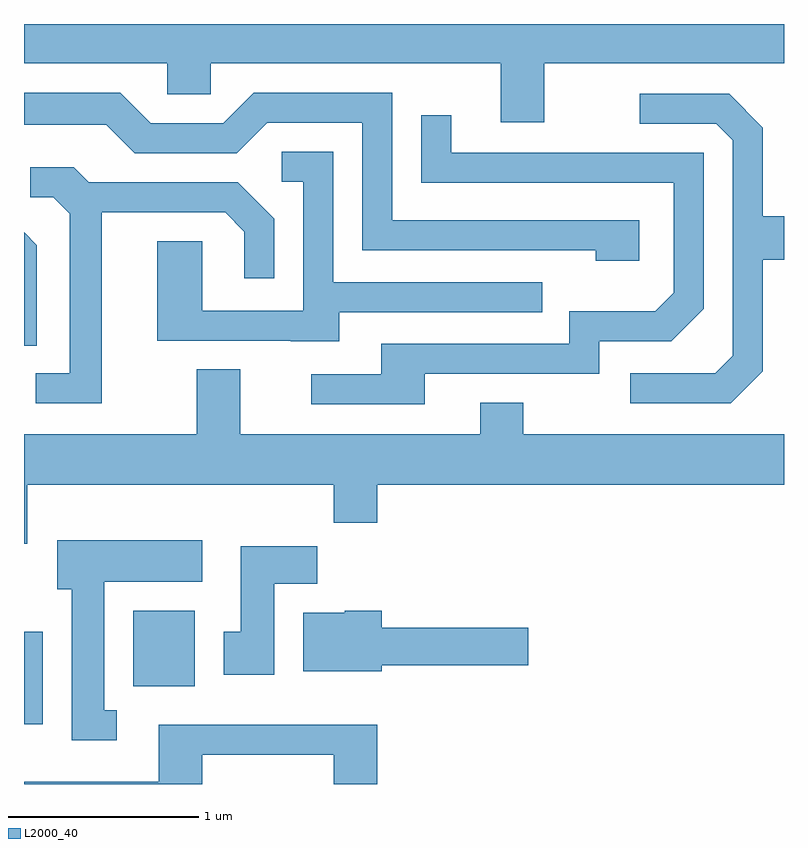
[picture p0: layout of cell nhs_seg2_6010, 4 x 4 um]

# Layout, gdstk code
import gdstk
lib = gdstk.Library(unit=1e-6, precision=1e-09)
def R(c, l, rs):  # rectangles x0, y0, x1, y1
    for r in rs: c.add(gdstk.rectangle(r[:2], r[2:], *l))
def P(c, l, *ps):  # polygons
    for p in ps: c.add(gdstk.Polygon(p, *l))
L2000_40 = (2000, 40)

nhs_seg2_6010 = lib.new_cell('nhs_seg2_6010')
R(nhs_seg2_6010, L2000_40, [(361.611,1098.116,361.709,1098.604), (362.186,1098.316,362.509,1098.714)])
P(nhs_seg2_6010, L2000_40, [(361.611,1101.596),(362.366,1101.596),(362.366,1101.431),(362.594,1101.431),(362.594,1101.596),(364.121,1101.596),(364.121,1101.286),(364.349,1101.286),(364.349,1101.596),(365.611,1101.596),(365.611,1101.802),(361.611,1101.802)],
  [(364.849,1100.769),(363.549,1100.769),(363.549,1101.439),(362.819,1101.439),(362.659,1101.279),(362.277,1101.279),(362.117,1101.439),(361.611,1101.439),(361.611,1101.271),(362.044,1101.271),(362.194,1101.121),(362.732,1101.121),(362.892,1101.281),(363.391,1101.281),(363.391,1100.611),(364.621,1100.611),(364.621,1100.556),(364.849,1100.556)],
  [(365.499,1099.974),(365.499,1100.561),(365.611,1100.561),(365.611,1100.789),(365.499,1100.789),(365.499,1101.257),(365.322,1101.434),(364.853,1101.434),(364.853,1101.276),(365.254,1101.276),(365.341,1101.189),(365.341,1100.057),(365.249,1099.964),(364.803,1099.964),(364.803,1099.806),(365.332,1099.806)],
  [(363.719,1099.961),(364.639,1099.961),(364.639,1100.131),(365.017,1100.131),(365.189,1100.304),(365.189,1101.124),(363.859,1101.124),(363.859,1101.323),(363.701,1101.323),(363.701,1100.966),(365.031,1100.966),(365.031,1100.387),(364.934,1100.289),(364.481,1100.289),(364.481,1100.119),(363.491,1100.119),(363.491,1099.959),(363.123,1099.959),(363.123,1099.801),(363.719,1099.801)],
  [(363.269,1100.286),(364.338,1100.286),(364.338,1100.444),(363.239,1100.444),(363.239,1101.129),(362.968,1101.129),(362.968,1100.971),(363.081,1100.971),(363.081,1100.294),(362.549,1100.294),(362.549,1100.659),(362.311,1100.659),(362.311,1100.136),(363.015,1100.136),(363.015,1100.131),(363.269,1100.131)],
  [(362.019,1100.811),(362.669,1100.811),(362.771,1100.709),(362.771,1100.463),(362.929,1100.463),(362.929,1100.777),(362.737,1100.969),(361.952,1100.969),(361.872,1101.049),(361.643,1101.049),(361.643,1100.891),(361.764,1100.891),(361.851,1100.804),(361.851,1099.964),(361.673,1099.964),(361.673,1099.806),(362.019,1099.806)],
  [(361.679,1100.637),(361.611,1100.705),(361.611,1100.108),(361.679,1100.108)],
  [(361.629,1099.376),(363.241,1099.376),(363.241,1099.176),(363.469,1099.176),(363.469,1099.376),(365.611,1099.376),(365.611,1099.644),(364.239,1099.644),(364.239,1099.809),(364.011,1099.809),(364.011,1099.644),(362.749,1099.644),(362.749,1099.984),(362.521,1099.984),(362.521,1099.644),(361.611,1099.644),(361.611,1099.066),(361.629,1099.066)],
  [(362.098,1098.189),(362.034,1098.189),(362.034,1098.866),(362.549,1098.866),(362.549,1099.084),(361.786,1099.084),(361.786,1098.826),(361.861,1098.826),(361.861,1098.031),(362.098,1098.031)],
  [(362.929,1098.856),(363.154,1098.856),(363.154,1099.054),(362.751,1099.054),(362.751,1098.604),(362.661,1098.604),(362.661,1098.376),(362.929,1098.376)],
  [(363.494,1098.426),(364.264,1098.426),(364.264,1098.624),(363.494,1098.624),(363.494,1098.714),(363.3,1098.714),(363.3,1098.704),(363.081,1098.704),(363.081,1098.396),(363.494,1098.396)],
  [(362.549,1097.956),(363.241,1097.956),(363.241,1097.802),(363.469,1097.802),(363.469,1098.114),(362.321,1098.114),(362.321,1097.814),(361.611,1097.814),(361.611,1097.802),(362.549,1097.802)])

lib.write_gds('nhs_seg2_6010.gds')
